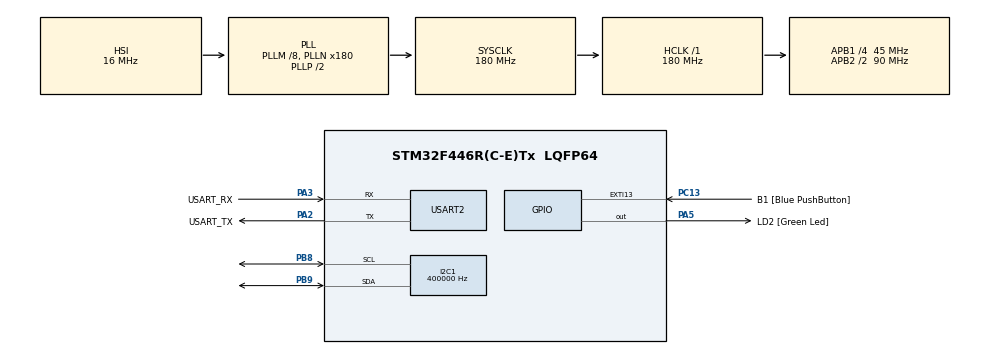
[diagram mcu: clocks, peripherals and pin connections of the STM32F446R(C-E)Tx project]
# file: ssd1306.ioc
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Dma.I2C1_TX.0.Direction=DMA_MEMORY_TO_PERIPH
Dma.I2C1_TX.0.FIFOMode=DMA_FIFOMODE_DISABLE
Dma.I2C1_TX.0.Instance=DMA1_Stream6
Dma.I2C1_TX.0.MemDataAlignment=DMA_MDATAALIGN_BYTE
Dma.I2C1_TX.0.MemInc=DMA_MINC_ENABLE
Dma.I2C1_TX.0.Mode=DMA_NORMAL
Dma.I2C1_TX.0.PeriphDataAlignment=DMA_PDATAALIGN_BYTE
Dma.I2C1_TX.0.PeriphInc=DMA_PINC_DISABLE
Dma.I2C1_TX.0.Priority=DMA_PRIORITY_LOW
Dma.Request0=I2C1_TX
I2C1.ClockSpeed=400000
I2C1.I2C_Mode=I2C_Fast
Mcu.Family=STM32F4
Mcu.Name=STM32F446R(C-E)Tx
Mcu.Package=LQFP64
NVIC.DMA1_Stream6_IRQn=true\:0\:0\:false\:false\:true\:false\:true\:true
NVIC.I2C1_ER_IRQn=true\:0\:0\:false\:false\:true\:true\:true\:true
NVIC.I2C1_EV_IRQn=true\:0\:0\:false\:false\:true\:true\:true\:true
NVIC.PriorityGroup=NVIC_PRIORITYGROUP_0
PA13.GPIO_Label=TMS
PA13.Mode=Serial_Wire
PA13.Signal=SYS_JTMS-SWDIO
PA14.GPIO_Label=TCK
PA14.Mode=Serial_Wire
PA14.Signal=SYS_JTCK-SWCLK
PA2.GPIO_Label=USART_TX
PA2.Mode=Asynchronous
PA2.Signal=USART2_TX
PA3.GPIO_Label=USART_RX
PA3.Mode=Asynchronous
PA3.Signal=USART2_RX
PA5.GPIO_Label=LD2 [Green Led]
PA5.Signal=GPIO_Output
PB3.GPIO_Label=SWO
PB3.Signal=SYS_JTDO-SWO
PB8.Mode=I2C
PB8.Signal=I2C1_SCL
PB9.Mode=I2C
PB9.Signal=I2C1_SDA
PC13.GPIO_Label=B1 [Blue PushButton]
PC13.GPIO_ModeDefaultEXTI=GPIO_MODE_IT_FALLING
PC13.Signal=GPXTI13
PC14-OSC32_IN.Mode=LSE-External-Oscillator
PC14-OSC32_IN.Signal=RCC_OSC32_IN
PC15-OSC32_OUT.Mode=LSE-External-Oscillator
PC15-OSC32_OUT.Signal=RCC_OSC32_OUT
PH0-OSC_IN.Mode=HSE-External-Oscillator
PH0-OSC_IN.Signal=RCC_OSC_IN
PH1-OSC_OUT.Mode=HSE-External-Oscillator
PH1-OSC_OUT.Signal=RCC_OSC_OUT
ProjectManager.HeapSize=0x200
ProjectManager.StackSize=0x400
ProjectManager.TargetToolchain=STM32CubeIDE
RCC.48MHZClocksFreq_Value=84000000
RCC.AHBFreq_Value=180000000
RCC.APB1CLKDivider=RCC_HCLK_DIV4
RCC.APB1Freq_Value=45000000
RCC.APB1TimFreq_Value=90000000
RCC.APB2CLKDivider=RCC_HCLK_DIV2
RCC.APB2Freq_Value=90000000
RCC.APB2TimFreq_Value=180000000
RCC.CortexFreq_Value=180000000
RCC.FLatency-AdvancedSettings=FLASH_LATENCY_5
RCC.HCLKFreq_Value=180000000
RCC.HSE_VALUE=8000000
RCC.HSI_VALUE=16000000
RCC.PLLM=8
RCC.PLLN=180
RCC.SYSCLKFreq_VALUE=180000000
RCC.SYSCLKSource=RCC_SYSCLKSOURCE_PLLCLK
RCC.USBFreq_Value=180000000
RCC.VCOOutputFreq_Value=360000000
USART2.VirtualMode=VM_ASYNC
board=NUCLEO-F446RE

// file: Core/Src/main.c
/* USER CODE BEGIN Header */
/**
  ******************************************************************************
  * @file           : main.c
  * @brief          : Main program body
  ******************************************************************************
  * @attention
  *
  * Copyright (c) 2024 STMicroelectronics.
  * All rights reserved.
  *
  * This software is licensed under terms that can be found in the LICENSE file
  * in the root directory of this software component.
  * If no LICENSE file comes with this software, it is provided AS-IS.
  *
  ******************************************************************************
  */
/* USER CODE END Header */
#include "main.h"

/* USER CODE BEGIN Includes */
#include "fonts.h"
#include "ssd1306.h"

/* USER CODE END Includes */

I2C_HandleTypeDef hi2c1;
DMA_HandleTypeDef hdma_i2c1_tx;

UART_HandleTypeDef huart2;

void SystemClock_Config(void);
static void MX_GPIO_Init(void);
static void MX_DMA_Init(void);
static void MX_USART2_UART_Init(void);
static void MX_I2C1_Init(void);

int main(void)
{

  /* MCU Configuration--------------------------------------------------------*/

  /* Reset of all peripherals, Initializes the Flash interface and the Systick. */
  HAL_Init();

  /* Configure the system clock */
  SystemClock_Config();

  /* Initialize all configured peripherals */
  MX_GPIO_Init();
  MX_DMA_Init();
  MX_USART2_UART_Init();
  MX_I2C1_Init();
  /* USER CODE BEGIN 2 */

/* USER CODE END Includes */

/* USER CODE BEGIN 2 */
  SSD1306_Init();
  SSD1306_GotoXY (0,0);
  SSD1306_Puts ("System initiating", &Font_7x10, 1);
  SSD1306_GotoXY (0, 16);
  SSD1306_Puts ("Written by Tori", &Font_7x10, 1);
  SSD1306_GotoXY (0, 32);
  SSD1306_Puts ("Rbite Co.Ltd", &Font_7x10, 1);
  SSD1306_GotoXY (0, 48);
  SSD1306_Puts ("Testing code!", &Font_7x10, 1);
  SSD1306_UpdateScreen();
  HAL_Delay (5000);
  SSD1306_Clear();

  int num=2024;
  char snum[5];
  SSD1306_GotoXY (30,20);
  itoa(num, snum, 10);
  SSD1306_Puts (snum, &Font_16x26, 1);
  SSD1306_UpdateScreen();

  //SSD1306_DrawLine(POINT1 X, POINT1 Y, POINT2 X, POINT2 Y, 1);
  SSD1306_DrawLine(1,54,126,54,1);
  SSD1306_UpdateScreen();
  HAL_Delay (5000);
  SSD1306_Clear();

  // For Rectangle, we need to use two corner points
  // SSD1306_DrawRectangle(POINT1 X, POINT1 Y, POINT2 X, POINT2 Y, 1);
  SSD1306_DrawRectangle(17,1,115,14,1);
  // SSD1306_DrawTriangle(POINT1X, POINT1Y, POINT2X, POINT2Y, POINT3X, POINT3Y, 1);
  SSD1306_DrawTriangle(73,22,124,62,74,54,1);
  // SSD1306_DrawCircle(CENTER POINT X, CENTER POINT Y, RADIUS, 1);
  SSD1306_DrawCircle(34,50,13,1);
  SSD1306_UpdateScreen();

  int counter = 0;
  char buffer[10];
  /* USER CODE END 2 */

  /* Infinite loop */
  /* USER CODE BEGIN WHILE */
  while (1)
  {

	  SSD1306_Clear();
	  SSD1306_GotoXY (64,32);
	  itoa(counter, buffer, 10);
	  SSD1306_Puts (snum, &Font_16x26, 1);
	  counter++;
	  SSD1306_UpdateScreen();
    /* USER CODE END WHILE */

  }
}

void SystemClock_Config(void)
{
  RCC_OscInitTypeDef RCC_OscInitStruct = {0};
  RCC_ClkInitTypeDef RCC_ClkInitStruct = {0};

  /** Configure the main internal regulator output voltage
  */
  __HAL_RCC_PWR_CLK_ENABLE();
  __HAL_PWR_VOLTAGESCALING_CONFIG(PWR_REGULATOR_VOLTAGE_SCALE1);

  /** Initializes the RCC Oscillators according to the specified parameters
  * in the RCC_OscInitTypeDef structure.
  */
  RCC_OscInitStruct.OscillatorType = RCC_OSCILLATORTYPE_HSI;
  RCC_OscInitStruct.HSIState = RCC_HSI_ON;
  RCC_OscInitStruct.HSICalibrationValue = RCC_HSICALIBRATION_DEFAULT;
  RCC_OscInitStruct.PLL.PLLState = RCC_PLL_ON;
  RCC_OscInitStruct.PLL.PLLSource = RCC_PLLSOURCE_HSI;
  RCC_OscInitStruct.PLL.PLLM = 8;
  RCC_OscInitStruct.PLL.PLLN = 180;
  RCC_OscInitStruct.PLL.PLLP = RCC_PLLP_DIV2;
  RCC_OscInitStruct.PLL.PLLQ = 2;
  RCC_OscInitStruct.PLL.PLLR = 2;
  if (HAL_RCC_OscConfig(&RCC_OscInitStruct) != HAL_OK)
  {
    Error_Handler();
  }

  /** Activate the Over-Drive mode
  */
  if (HAL_PWREx_EnableOverDrive() != HAL_OK)
  {
    Error_Handler();
  }

  /** Initializes the CPU, AHB and APB buses clocks
  */
  RCC_ClkInitStruct.ClockType = RCC_CLOCKTYPE_HCLK|RCC_CLOCKTYPE_SYSCLK
                              |RCC_CLOCKTYPE_PCLK1|RCC_CLOCKTYPE_PCLK2;
  RCC_ClkInitStruct.SYSCLKSource = RCC_SYSCLKSOURCE_PLLCLK;
  RCC_ClkInitStruct.AHBCLKDivider = RCC_SYSCLK_DIV1;
  RCC_ClkInitStruct.APB1CLKDivider = RCC_HCLK_DIV4;
  RCC_ClkInitStruct.APB2CLKDivider = RCC_HCLK_DIV2;

  if (HAL_RCC_ClockConfig(&RCC_ClkInitStruct, FLASH_LATENCY_5) != HAL_OK)
  {
    Error_Handler();
  }
}

static void MX_I2C1_Init(void)
{

  hi2c1.Instance = I2C1;
  hi2c1.Init.ClockSpeed = 400000;
  hi2c1.Init.DutyCycle = I2C_DUTYCYCLE_2;
  hi2c1.Init.OwnAddress1 = 0;
  hi2c1.Init.AddressingMode = I2C_ADDRESSINGMODE_7BIT;
  hi2c1.Init.DualAddressMode = I2C_DUALADDRESS_DISABLE;
  hi2c1.Init.OwnAddress2 = 0;
  hi2c1.Init.GeneralCallMode = I2C_GENERALCALL_DISABLE;
  hi2c1.Init.NoStretchMode = I2C_NOSTRETCH_DISABLE;
  if (HAL_I2C_Init(&hi2c1) != HAL_OK)
  {
    Error_Handler();
  }

}

static void MX_USART2_UART_Init(void)
{

  huart2.Instance = USART2;
  huart2.Init.BaudRate = 115200;
  huart2.Init.WordLength = UART_WORDLENGTH_8B;
  huart2.Init.StopBits = UART_STOPBITS_1;
  huart2.Init.Parity = UART_PARITY_NONE;
  huart2.Init.Mode = UART_MODE_TX_RX;
  huart2.Init.HwFlowCtl = UART_HWCONTROL_NONE;
  huart2.Init.OverSampling = UART_OVERSAMPLING_16;
  if (HAL_UART_Init(&huart2) != HAL_OK)
  {
    Error_Handler();
  }

}

static void MX_DMA_Init(void)
{

  /* DMA controller clock enable */
  __HAL_RCC_DMA1_CLK_ENABLE();

  /* DMA interrupt init */
  /* DMA1_Stream6_IRQn interrupt configuration */
  HAL_NVIC_SetPriority(DMA1_Stream6_IRQn, 0, 0);
  HAL_NVIC_EnableIRQ(DMA1_Stream6_IRQn);

}

static void MX_GPIO_Init(void)
{
  GPIO_InitTypeDef GPIO_InitStruct = {0};

  /* GPIO Ports Clock Enable */
  __HAL_RCC_GPIOC_CLK_ENABLE();
  __HAL_RCC_GPIOH_CLK_ENABLE();
  __HAL_RCC_GPIOA_CLK_ENABLE();
  __HAL_RCC_GPIOB_CLK_ENABLE();

  /*Configure GPIO pin Output Level */
  HAL_GPIO_WritePin(LD2_GPIO_Port, LD2_Pin, GPIO_PIN_RESET);

  /*Configure GPIO pin : B1_Pin */
  GPIO_InitStruct.Pin = B1_Pin;
  GPIO_InitStruct.Mode = GPIO_MODE_IT_FALLING;
  GPIO_InitStruct.Pull = GPIO_NOPULL;
  HAL_GPIO_Init(B1_GPIO_Port, &GPIO_InitStruct);

  /*Configure GPIO pin : LD2_Pin */
  GPIO_InitStruct.Pin = LD2_Pin;
  GPIO_InitStruct.Mode = GPIO_MODE_OUTPUT_PP;
  GPIO_InitStruct.Pull = GPIO_NOPULL;
  GPIO_InitStruct.Speed = GPIO_SPEED_FREQ_LOW;
  HAL_GPIO_Init(LD2_GPIO_Port, &GPIO_InitStruct);

}

void Error_Handler(void)
{
  __disable_irq();
  while (1)
  {
  }
}
